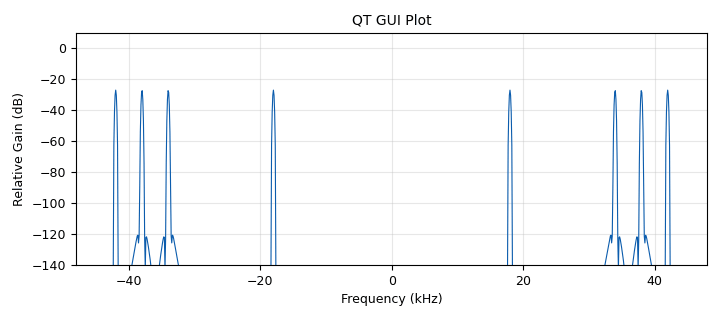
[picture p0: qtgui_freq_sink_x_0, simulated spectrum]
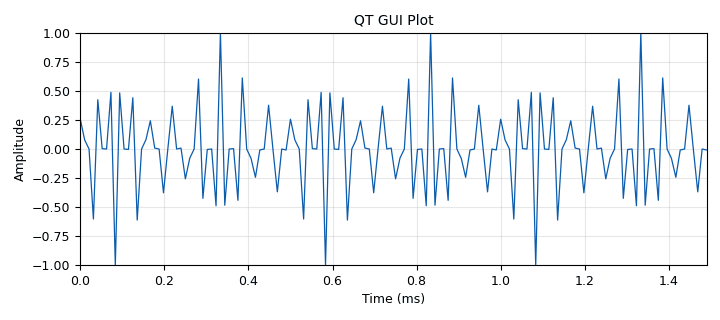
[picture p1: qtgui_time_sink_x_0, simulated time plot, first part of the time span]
options:
  parameters:
    author: Jeison_Carlos
    copyright: UIS
    generate_options: qt_gui
    id: Parte3
    output_language: python
    title: Punto 3 lab
  states: {}

blocks:
- name: samp_rate
  id: variable
  parameters:
    value: '96000'
  states: {}
- name: analog_sig_source_x_0
  id: analog_sig_source_x
  parameters:
    amp: '1'
    freq: '12000'
    offset: '0'
    phase: '0'
    samp_rate: samp_rate
    type: float
    waveform: analog.GR_COS_WAVE
  states: {}
- name: analog_sig_source_x_1
  id: analog_sig_source_x
  parameters:
    amp: '1'
    freq: '40000'
    offset: '0'
    phase: '0'
    samp_rate: samp_rate
    type: float
    waveform: analog.GR_COS_WAVE
  states: {}
- name: analog_sig_source_x_2
  id: analog_sig_source_x
  parameters:
    amp: '1'
    freq: '10000'
    offset: '0'
    phase: '0'
    samp_rate: samp_rate
    type: float
    waveform: analog.GR_COS_WAVE
  states: {}
- name: blocks_multiply_xx_0
  id: blocks_multiply_xx
  parameters:
    num_inputs: '3'
    type: float
  states: {}
- name: qtgui_freq_sink_x_0
  id: qtgui_freq_sink_x
  parameters:
    bw: samp_rate
    fc: '0'
    fftsize: '1024'
    name: QT GUI Plot
    type: float
    wintype: firdes.WIN_BLACKMAN_hARRIS
  states: {}
- name: qtgui_time_sink_x_0
  id: qtgui_time_sink_x
  parameters:
    name: QT GUI Plot
    size: '1024'
    srate: samp_rate
    type: float
  states: {}

connections:
- [analog_sig_source_x_0, '0', blocks_multiply_xx_0, '0']
- [analog_sig_source_x_1, '0', blocks_multiply_xx_0, '1']
- [analog_sig_source_x_2, '0', blocks_multiply_xx_0, '2']
- [blocks_multiply_xx_0, '0', qtgui_freq_sink_x_0, '0']
- [blocks_multiply_xx_0, '0', qtgui_time_sink_x_0, '0']

metadata:
  file_format: 1
